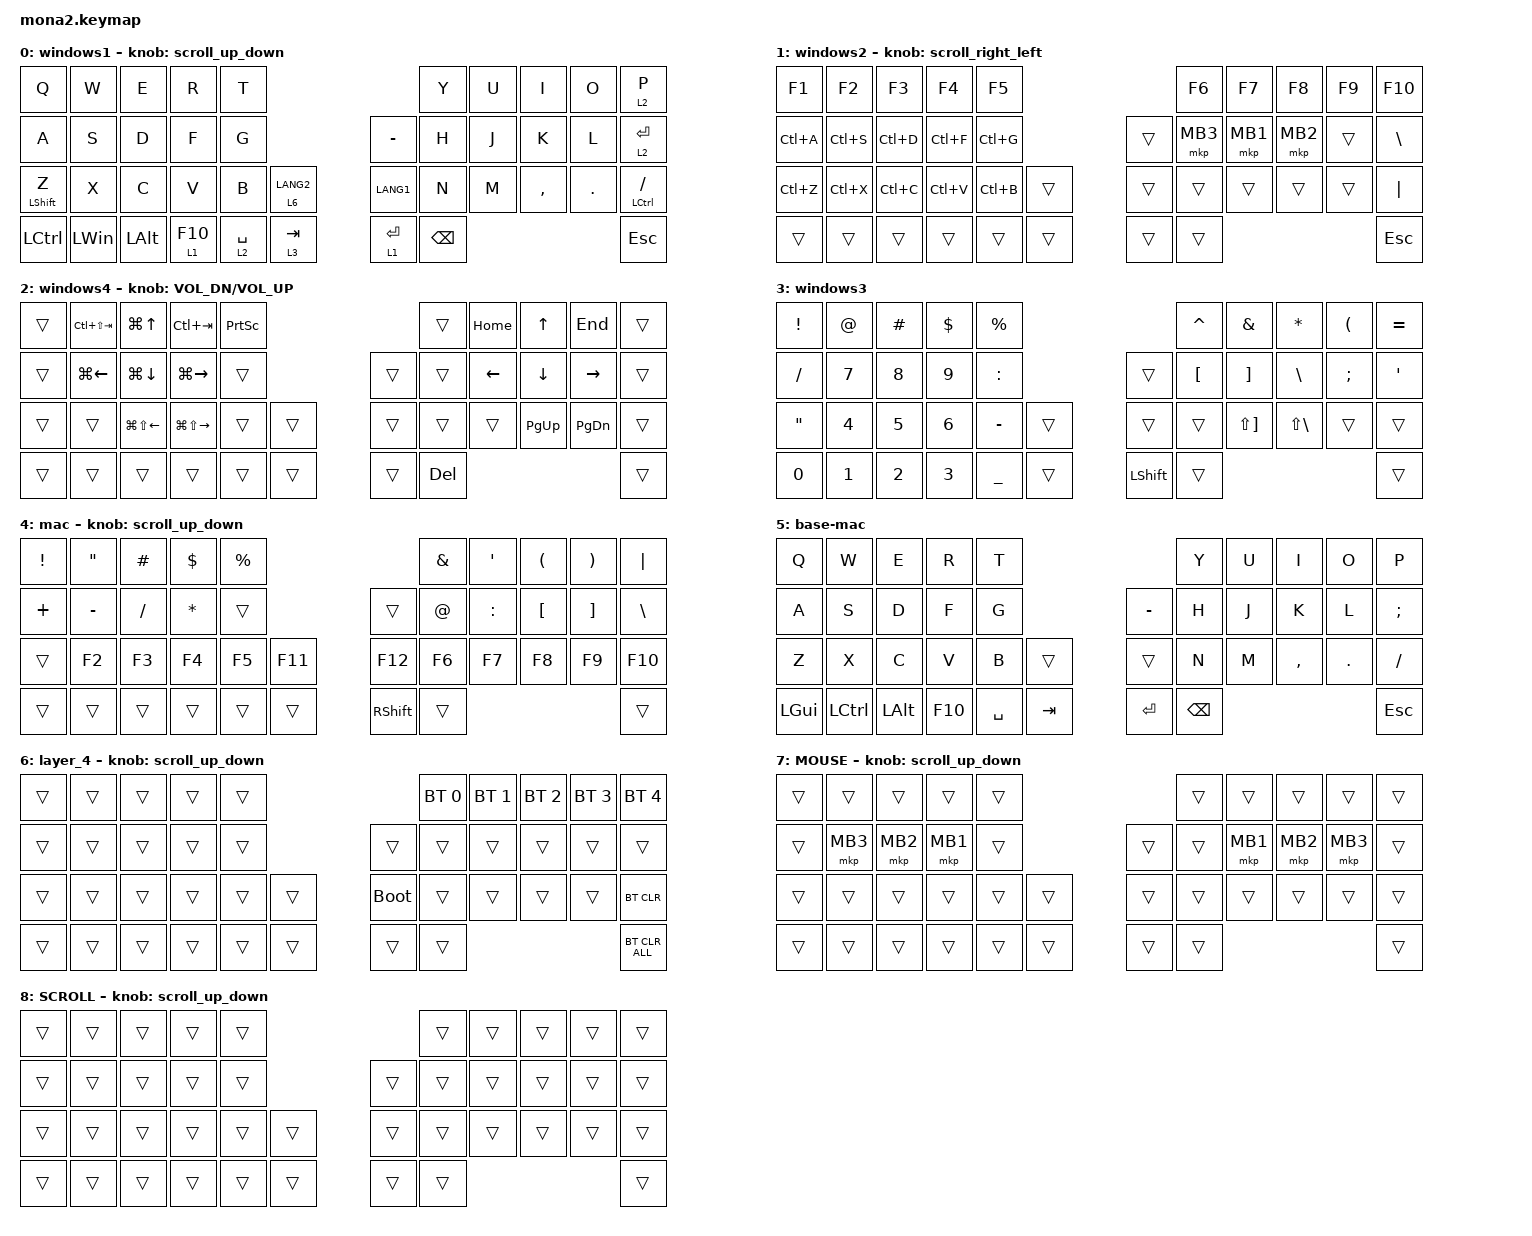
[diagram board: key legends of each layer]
#include <input/processors.dtsi>
#include <dt-bindings/zmk/input_transform.h>
#include <zephyr/dt-bindings/input/input-event-codes.h>
#include <behaviors.dtsi>
#include <dt-bindings/zmk/bt.h>
#include <dt-bindings/zmk/keys.h>
#include <dt-bindings/zmk/pointing.h>

#define ZMK_POINTING_DEFAULT_SCRL_VAL 100
#define MOUSE 5
#define SCROLL 6

&mt {
    flavor = "balanced";
    quick-tap-ms = <0>;
};

&lt {
    quick-tap-ms = <300>;
    flavor = "balanced";
};

/ {
    combos {
        compatible = "zmk,combos";

        M1 {
            bindings = <&mkp MB1>;
            key-positions = <17 18>;
        };

        M2 {
            bindings = <&mkp MB2>;
            key-positions = <18 19>;
        };

        M3 {
            bindings = <&mkp MB3>;
            key-positions = <7 18>;
        };

        open {
            bindings = <&kp LC(LA(DEL))>;
            key-positions = <38 39>;
        };
    };

    macros {
        to_layer_0: to_layer_0 {
            compatible = "zmk,behavior-macro-one-param";
            #binding-cells = <1>;
            bindings = <&to 0 &macro_param_1to1 &kp MACRO_PLACEHOLDER>;
            label = "TO_LAYER_0";
        };
    };

    behaviors {
        lt_to_layer_0: lt_to_layer_0 {
            compatible = "zmk,behavior-hold-tap";
            label = "LAYER_TAP_TO_0";
            bindings = <&mo>, <&to_layer_0>;

            #binding-cells = <2>;
            tapping-term-ms = <200>;
        };

        scroll_up_down: mouse_wheel_up_down {
            compatible = "zmk,behavior-sensor-rotate";
            #sensor-binding-cells = <0>;
            bindings = <&msc SCRL_DOWN>, <&msc SCRL_UP>;

            tap-ms = <20>;
        };

        scroll_right_left: mouse_wheel_right_left {
            compatible = "zmk,behavior-sensor-rotate";
            #sensor-binding-cells = <0>;
            bindings = <&msc SCRL_LEFT>, <&msc SCRL_RIGHT>;

            tap-ms = <20>;
        };
    };

    keymap {
        compatible = "zmk,keymap";

        windows1 {
            bindings = <
&kp Q             &kp W         &kp E         &kp R      &kp T                                    &kp Y          &kp U  &kp I      &kp O    &lt 2 P
&kp A             &kp S         &kp D         &kp F      &kp G                       &kp MINUS    &kp H          &kp J  &kp K      &kp L    &lt 2 ENTER
&mt LEFT_SHIFT Z  &kp X         &kp C         &kp V      &kp B        &lt 6 LANG2    &kp LANG1    &kp N          &kp M  &kp COMMA  &kp DOT  &mt LCTRL SLASH
&kp LCTRL         &kp LEFT_WIN  &kp LEFT_ALT  &lt 1 F10  &lt 2 SPACE  &lt 3 TAB      &lt 1 ENTER  &kp BACKSPACE                             &kp ESC
            >;

            sensor-bindings = <&scroll_up_down>;
        };

        windows2 {
            bindings = <
&kp F1     &kp F2     &kp F3     &kp F4     &kp F5                       &kp F6    &kp F7    &kp F8    &kp F9  &kp F10
&kp LC(A)  &kp LC(S)  &kp LC(D)  &kp LC(F)  &kp LC(G)            &trans  &mkp MB3  &mkp MB1  &mkp MB2  &trans  &kp BACKSLASH
&kp LC(Z)  &kp LC(X)  &kp LC(C)  &kp LC(V)  &kp LC(B)  &trans    &trans  &trans    &trans    &trans    &trans  &kp PIPE
&trans     &trans     &trans     &trans     &trans     &trans    &trans  &trans                                &kp ESCAPE
            >;

            sensor-bindings = <&scroll_right_left>;
        };

        windows4 {
            bindings = <
&trans  &kp LC(LS(TAB))     &kp LG(UP_ARROW)        &kp LC(TAB)              &kp PRINTSCREEN                    &trans      &kp HOME        &kp UP_ARROW    &kp END          &trans
&trans  &kp LG(LEFT_ARROW)  &kp LG(DOWN_ARROW)      &kp LG(RIGHT_ARROW)      &trans                     &trans  &trans      &kp LEFT_ARROW  &kp DOWN_ARROW  &kp RIGHT_ARROW  &trans
&trans  &trans              &kp LG(LS(LEFT_ARROW))  &kp LG(LS(RIGHT_ARROW))  &trans           &trans    &trans  &trans      &trans          &kp PAGE_UP     &kp PAGE_DOWN    &trans
&trans  &trans              &trans                  &trans                   &trans           &trans    &trans  &kp DELETE                                                   &trans
            >;

            sensor-bindings = <&inc_dec_kp C_VOL_DN C_VOL_UP>;
        };

        windows3 {
            bindings = <
&kp EXCLAMATION    &kp AT_SIGN  &kp HASH  &kp DOLLAR  &kp PERCENT                               &kp CARET         &kp AMPERSAND          &kp ASTERISK       &kp LEFT_PARENTHESIS  &kp EQUAL
&kp FSLH           &kp N7       &kp N8    &kp N9      &kp COLON                 &trans          &kp LEFT_BRACKET  &kp RIGHT_BRACKET      &kp BACKSLASH      &kp SEMICOLON         &kp SINGLE_QUOTE
&kp DOUBLE_QUOTES  &kp N4       &kp N5    &kp N6      &kp MINUS       &trans    &trans          &trans            &kp LS(RIGHT_BRACKET)  &kp LS(BACKSLASH)  &trans                &trans
&kp NUMBER_0       &kp N1       &kp N2    &kp N3      &kp UNDERSCORE  &trans    &kp LEFT_SHIFT  &trans                                                                            &trans
            >;
        };

        mac {
            bindings = <
&kp EXCLAMATION  &kp DOUBLE_QUOTES  &kp POUND  &kp DOLLAR    &kp PERCENT                              &kp AMPERSAND  &kp SQT    &kp LEFT_PARENTHESIS  &kp RIGHT_PARENTHESIS  &kp PIPE
&kp PLUS         &kp MINUS          &kp SLASH  &kp ASTERISK  &trans                  &trans           &kp AT_SIGN    &kp COLON  &kp LEFT_BRACKET      &kp RIGHT_BRACKET      &kp BACKSLASH
&trans           &kp F2             &kp F3     &kp F4        &kp F5       &kp F11    &kp F12          &kp F6         &kp F7     &kp F8                &kp F9                 &kp F10
&trans           &trans             &trans     &trans        &trans       &trans     &kp RIGHT_SHIFT  &trans                                                                 &trans
            >;

            sensor-bindings = <&scroll_up_down>;
        };

        base-mac {
            bindings = <
&kp Q     &kp W      &kp E     &kp R    &kp T                            &kp Y     &kp U  &kp I      &kp O    &kp P
&kp A     &kp S      &kp D     &kp F    &kp G                 &kp MINUS  &kp H     &kp J  &kp K      &kp L    &kp SEMI
&kp Z     &kp X      &kp C     &kp V    &kp B      &trans     &trans     &kp N     &kp M  &kp COMMA  &kp DOT  &kp FSLH
&kp LGUI  &kp LCTRL  &kp LALT  &kp F10  &kp SPACE  &kp TAB    &kp ENTER  &kp BSPC                             &kp ESC
            >;
        };

        layer_4 {
            bindings = <
&trans  &trans  &trans  &trans  &trans                         &bt BT_SEL 0  &bt BT_SEL 1  &bt BT_SEL 2  &bt BT_SEL 3  &bt BT_SEL 4
&trans  &trans  &trans  &trans  &trans            &trans       &trans        &trans        &trans        &trans        &trans
&trans  &trans  &trans  &trans  &trans  &trans    &bootloader  &trans        &trans        &trans        &trans        &bt BT_CLR
&trans  &trans  &trans  &trans  &trans  &trans    &trans       &trans                                                  &bt BT_CLR_ALL
            >;

            sensor-bindings = <&scroll_up_down>;
        };

        MOUSE {
            bindings = <
&trans  &trans    &trans    &trans    &trans                    &trans  &trans    &trans    &trans    &trans
&trans  &mkp MB3  &mkp MB2  &mkp MB1  &trans            &trans  &trans  &mkp MB1  &mkp MB2  &mkp MB3  &trans
&trans  &trans    &trans    &trans    &trans  &trans    &trans  &trans  &trans    &trans    &trans    &trans
&trans  &trans    &trans    &trans    &trans  &trans    &trans  &trans                                &trans
            >;

            sensor-bindings = <&scroll_up_down>;
        };

        SCROLL {
            bindings = <
&trans  &trans  &trans  &trans  &trans                    &trans  &trans  &trans  &trans  &trans
&trans  &trans  &trans  &trans  &trans            &trans  &trans  &trans  &trans  &trans  &trans
&trans  &trans  &trans  &trans  &trans  &trans    &trans  &trans  &trans  &trans  &trans  &trans
&trans  &trans  &trans  &trans  &trans  &trans    &trans  &trans                          &trans
            >;

            sensor-bindings = <&scroll_up_down>;
        };
    };
};
